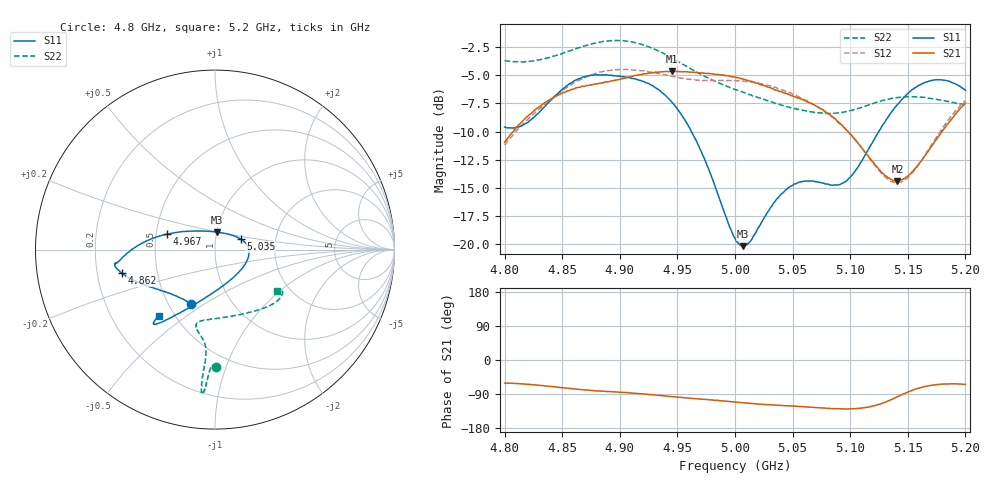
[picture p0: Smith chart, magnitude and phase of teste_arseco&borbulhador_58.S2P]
! Network Analyzer HP8722D
! Hewlett-Packard
! Data name: Linha & Wilkinson
! Saver's name: Rodrigo Anjos
! Comments: Teste da utilização de aquisição
! continua pelo VNA HP8722D
! Time and date: 15/4/2025 16:07
!  Frequency  S11  S21  S12  S22
# HZ  S  MA R 50
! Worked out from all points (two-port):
!   401 points, 4.8 GHz to 5.2 GHz, reference 50 ohm
!   highest |S21| = -4.64 dB at 4.945 GHz (marker M1); lowest = -14.4 dB at 5.141 GHz (marker M2)
!   |S21| within 3 dB of the highest: 4.832 GHz to 5.069 GHz (237.1 MHz wide, 4.79 % of centre); 5.198309 GHz to end of sweep
!   lowest |S11| = -20.2 dB at 5.007 GHz (marker M3), VSWR 1.22, Z = 50.3 + j9.86 ohm
!   |S11| at or under -10 dB: 4.962 GHz to 5.125 GHz (162.6 MHz wide, 3.22 % of centre)
!   |S22| runs from -8.4 to -1.9 dB; largest |S21 - S12| = 0.88
!   S11 on the Smith chart (normalised r, x): 4.8 GHz: 0.65, -0.44; 4.862 GHz: 0.31, -0.11; 4.967 GHz: 0.57, +0.11; 5.035 GHz: 1.32, +0.16; 5.2 GHz: 0.41, -0.40
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4.8e9  0.3313 -113.9  0.2832 -61.0  0.276 -175.2  0.6543 -89.5
4.819e9  0.3454 -133.7  0.3656 -63.9  0.3538 -173.4  0.648 -91.2
4.862e9  0.5367 -165.8  0.4949 -76.7  0.5279 -176.4  0.74 -93.6
4.867e9  0.5495 -167.8  0.5032 -78.4  0.542 -177.6  0.7539 -93.8
4.902e9  0.5545 -172.4  0.5429 -85.4  0.5975 175.1  0.8023 -95.2
4.934e9  0.4844 -178.1  0.5814 -93.5  0.5734 171.9  0.7187 -95.6
4.945e9  0.4286 176.9  0.5861 -96.5  0.5574 172.0  0.6727 -95.3
4.967e9  0.2834 162.4  0.5796 -102.3  0.5352 173.8  0.5796 -95.1
5e9  0.1061 106.5  0.5518 -110.9  0.5338 176.3  0.4865 -99.2
5.007e9  0.09785 82.5  0.5408 -112.8  0.5298 176.3  0.4724 -100.9
5.013e9  0.1026 63.7  0.5295 -114.3  0.5263 176.2  0.461 -102.2
5.035e9  0.1553 22.3  0.4834 -119.0  0.4982 175.0  0.4224 -103.9
5.05e9  0.1822 6.6  0.4559 -121.7  0.464 174.5  0.4027 -100.5
5.067e9  0.1907 -11.7  0.4199 -124.7  0.4209 174.0  0.3867 -91.9
5.086e9  0.183 -42.2  0.3635 -128.4  0.3615 173.7  0.3812 -77.7
5.097e9  0.1912 -65.2  0.3206 -129.2  0.3208 174.4  0.3886 -68.5
5.134e9  0.3742 -116.2  0.1958 -106.7  0.1919 -159.5  0.4419 -43.4
5.141e9  0.4171 -120.2  0.1908 -96.9  0.1875 -148.7  0.4481 -40.3
5.153e9  0.4818 -125.1  0.2071 -80.9  0.2049 -130.0  0.4518 -35.9
5.17e9  0.5331 -128.8  0.2689 -66.9  0.2732 -113.0  0.4441 -32.1
5.184e9  0.5319 -130.1  0.3395 -63.1  0.3504 -107.3  0.4315 -31.1
5.2e9  0.4826 -130.4  0.4241 -64.2  0.4355 -106.2  0.4156 -33.5
